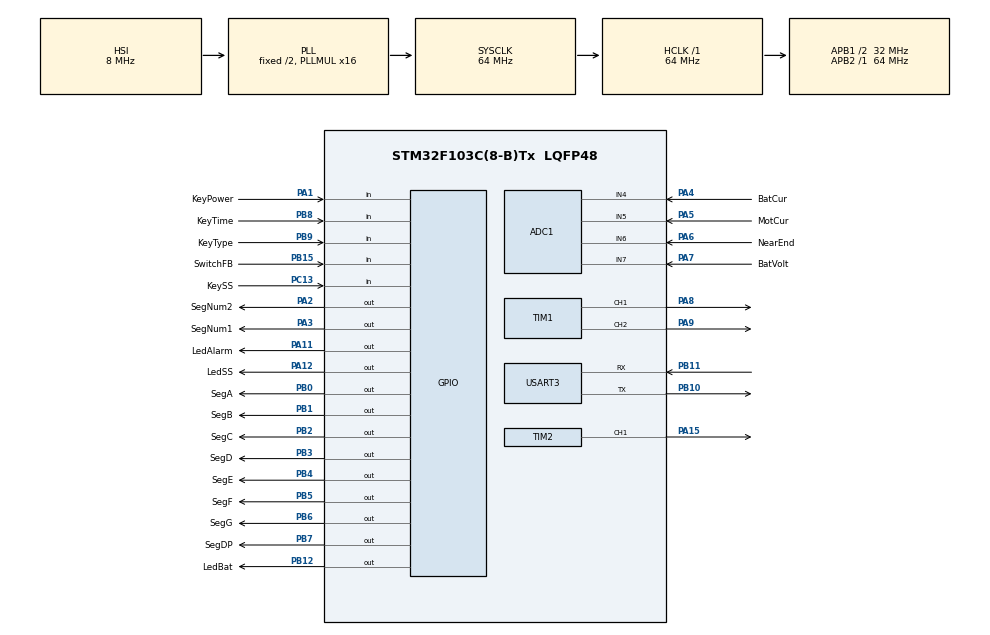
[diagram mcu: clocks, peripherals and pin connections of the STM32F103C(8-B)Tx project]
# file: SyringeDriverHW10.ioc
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ADC1.Channel-0\#ChannelRegularConversion=ADC_CHANNEL_4
ADC1.NbrOfConversionFlag=1
ADC1.Rank-0\#ChannelRegularConversion=1
ADC1.SamplingTime-0\#ChannelRegularConversion=ADC_SAMPLETIME_1CYCLE_5
ADC1.master=1
Mcu.Family=STM32F1
Mcu.Name=STM32F103C(8-B)Tx
Mcu.Package=LQFP48
NVIC.PriorityGroup=NVIC_PRIORITYGROUP_4
PA0-WKUP.Mode=SYS_WakeUp0
PA0-WKUP.Signal=SYS_WKUP
PA1.GPIO_Label=KeyPower
PA1.Signal=GPIO_Input
PA11.GPIO_Label=LedAlarm
PA11.Signal=GPIO_Output
PA12.GPIO_Label=LedSS
PA12.Signal=GPIO_Output
PA13.Mode=Serial_Wire
PA13.Signal=SYS_JTMS-SWDIO
PA14.Mode=Serial_Wire
PA14.Signal=SYS_JTCK-SWCLK
PA15.Signal=S_TIM2_CH1_ETR
PA2.GPIO_Label=SegNum2
PA2.PinState=GPIO_PIN_SET
PA2.Signal=GPIO_Output
PA3.GPIO_Label=SegNum1
PA3.PinState=GPIO_PIN_SET
PA3.Signal=GPIO_Output
PA4.GPIO_Label=BatCur
PA4.Signal=ADCx_IN4
PA5.GPIO_Label=MotCur
PA5.Signal=ADCx_IN5
PA6.GPIO_Label=NearEnd
PA6.Signal=ADCx_IN6
PA7.GPIO_Label=BatVolt
PA7.Signal=ADCx_IN7
PA8.Signal=S_TIM1_CH1
PA9.Signal=S_TIM1_CH2
PB0.GPIO_Label=SegA
PB0.PinState=GPIO_PIN_SET
PB0.Signal=GPIO_Output
PB1.GPIO_Label=SegB
PB1.PinState=GPIO_PIN_SET
PB1.Signal=GPIO_Output
PB10.Mode=Asynchronous
PB10.Signal=USART3_TX
PB11.Mode=Asynchronous
PB11.Signal=USART3_RX
PB12.GPIO_Label=LedBat
PB12.Signal=GPIO_Output
PB15.GPIO_Label=SwitchFB
PB15.Signal=GPIO_Input
PB2.GPIO_Label=SegC
PB2.PinState=GPIO_PIN_SET
PB2.Signal=GPIO_Output
PB3.GPIO_Label=SegD
PB3.PinState=GPIO_PIN_SET
PB3.Signal=GPIO_Output
PB4.GPIO_Label=SegE
PB4.PinState=GPIO_PIN_SET
PB4.Signal=GPIO_Output
PB5.GPIO_Label=SegF
PB5.PinState=GPIO_PIN_SET
PB5.Signal=GPIO_Output
PB6.GPIO_Label=SegG
PB6.PinState=GPIO_PIN_SET
PB6.Signal=GPIO_Output
PB7.GPIO_Label=SegDP
PB7.PinState=GPIO_PIN_SET
PB7.Signal=GPIO_Output
PB8.GPIO_Label=KeyTime
PB8.Signal=GPIO_Input
PB9.GPIO_Label=KeyType
PB9.Signal=GPIO_Input
PC13-TAMPER-RTC.GPIO_Label=KeySS
PC13-TAMPER-RTC.Signal=GPIO_Input
PC14-OSC32_IN.Mode=LSE-External-Oscillator
PC14-OSC32_IN.Signal=RCC_OSC32_IN
PC15-OSC32_OUT.Mode=LSE-External-Oscillator
PC15-OSC32_OUT.Signal=RCC_OSC32_OUT
ProjectManager.HeapSize=0x200
ProjectManager.StackSize=0x400
ProjectManager.TargetToolchain=STM32CubeIDE
RCC.ADCPresc=RCC_ADCPCLK2_DIV6
RCC.AHBFreq_Value=64000000
RCC.APB1CLKDivider=RCC_HCLK_DIV2
RCC.APB1Freq_Value=32000000
RCC.APB1TimFreq_Value=64000000
RCC.APB2Freq_Value=64000000
RCC.APB2TimFreq_Value=64000000
RCC.HCLKFreq_Value=64000000
RCC.PLLMUL=RCC_PLL_MUL16
RCC.SYSCLKFreq_VALUE=64000000
RCC.SYSCLKSource=RCC_SYSCLKSOURCE_PLLCLK
RCC.USBFreq_Value=64000000
SH.ADCx_IN4.0=ADC1_IN4,IN4
SH.ADCx_IN5.0=ADC1_IN5,IN5
SH.ADCx_IN6.0=ADC1_IN6,IN6
SH.ADCx_IN7.0=ADC1_IN7,IN7
SH.S_TIM1_CH1.0=TIM1_CH1,PWM Generation1 CH1
SH.S_TIM1_CH2.0=TIM1_CH2,PWM Generation2 CH2
SH.S_TIM2_CH1_ETR.0=TIM2_CH1,PWM Generation1 CH1
TIM1.Channel-PWM\ Generation1\ CH1=TIM_CHANNEL_1
TIM1.Channel-PWM\ Generation2\ CH2=TIM_CHANNEL_2
TIM2.AutoReloadPreload=TIM_AUTORELOAD_PRELOAD_ENABLE
TIM2.Channel-PWM\ Generation1\ CH1=TIM_CHANNEL_1
TIM2.Period=100-1
TIM2.Prescaler=640-1
TIM2.Pulse-PWM\ Generation1\ CH1=50-1
USART3.VirtualMode=VM_ASYNC
board=custom

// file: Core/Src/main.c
/* USER CODE BEGIN Header */
/**
  ******************************************************************************
  * @file           : main.c
  * @brief          : Main program body
  ******************************************************************************
  * @attention
  *
  * Copyright (c) 2023 STMicroelectronics.
  * All rights reserved.
  *
  * This software is licensed under terms that can be found in the LICENSE file
  * in the root directory of this software component.
  * If no LICENSE file comes with this software, it is provided AS-IS.
  *
  ******************************************************************************
  */
/* USER CODE END Header */
#include "main.h"
#include "adc.h"
#include "tim.h"
#include "usart.h"
#include "gpio.h"

void SystemClock_Config(void);

/* USER CODE BEGIN 0 */
/*                       Hap  py  Birth Day  to  you,  Hap py   birth day  to
                         C4   C4   D4   C4   F4   E4   C4   C4   D4   C4   G4 */
unsigned int notes[] = { 262, 262, 294, 262, 349, 330, 262, 262, 294, 262, 392,

/*                       you, Hap py  Birth Day  dear  xxxx      Hap  py   birth
                         F4   C4   C4   C5   A4   F4   E4   D4   B4b  B4b  A4 */
                         349, 262, 262, 523, 440, 349, 330, 294, 466, 466, 440,

/*                       day  to  you
                         F4   G4   F4   */
                         349, 392, 349
                        };

unsigned int duration[] = {1,1,2,2,2,2,1,1,2,2,2,2,1,1,2,2,2,2,2,1,1,2,2,2,2};

void setfrequency(int freq)
{
	uint32_t  freqpclk2=HAL_RCC_GetPCLK1Freq()*2/640;
	uint32_t _arr=freqpclk2/freq-1;
	uint32_t _ccr=_arr/3;
	__HAL_TIM_SET_AUTORELOAD(&htim2,_arr);
	__HAL_TIM_SET_COMPARE(&htim2,TIM_CHANNEL_1,_ccr);

}
void playSong(){

    for (uint8_t i = 0; i <sizeof(duration)/sizeof(unsigned int)*2; i++) {
		__HAL_TIM_SET_COUNTER(&htim2,0);
		setfrequency(notes[i%25]);
		HAL_Delay(400*duration[i%25]);

    }
//	__HAL_TIM_SET_AUTORELOAD(&htim2,0);
//    __HAL_TIM_SET_COMPARE(&htim2,TIM_CHANNEL_1,0);
}

/* USER CODE END 0 */

int main(void)
{

  /* MCU Configuration--------------------------------------------------------*/

  /* Reset of all peripherals, Initializes the Flash interface and the Systick. */
  HAL_Init();

  /* Configure the system clock */
  SystemClock_Config();

  /* Initialize all configured peripherals */
  MX_GPIO_Init();
  MX_ADC1_Init();
  MX_TIM1_Init();
  MX_TIM2_Init();
  MX_USART3_UART_Init();
  /* USER CODE BEGIN 2 */
HAL_GPIO_WritePin(SegNum1_GPIO_Port, SegNum1_Pin, GPIO_PIN_RESET);
HAL_GPIO_WritePin(LedAlarm_GPIO_Port, LedAlarm_Pin, GPIO_PIN_SET);
HAL_GPIO_WritePin(LedBat_GPIO_Port, LedBat_Pin, GPIO_PIN_SET);
HAL_GPIO_WritePin(LedSS_GPIO_Port, LedSS_Pin, GPIO_PIN_SET);

HAL_GPIO_WritePin(SegA_GPIO_Port, SegA_Pin, GPIO_PIN_RESET);
HAL_TIM_PWM_Start(&htim2, TIM_CHANNEL_1);
//setfrequency(200);
//HAL_Delay(3000);
//HAL_GPIO_WritePin(SegA_GPIO_Port, SegA_Pin, GPIO_PIN_SET);
//HAL_GPIO_WritePin(SegB_GPIO_Port, SegB_Pin, GPIO_PIN_RESET);
////__HAL_TIM_SET_AUTORELOAD(&htim2,200-1);
//setfrequency(1000);
//HAL_Delay(3000);
//HAL_GPIO_WritePin(SegB_GPIO_Port, SegB_Pin, GPIO_PIN_SET);
//HAL_GPIO_WritePin(SegC_GPIO_Port, SegC_Pin, GPIO_PIN_RESET);
//setfrequency(8000);
//HAL_Delay(3000);
playSong();
HAL_TIM_PWM_Stop(&htim2, TIM_CHANNEL_1);
  /* USER CODE END 2 */

  /* Infinite loop */
  while (1)
  {

  }
}

void SystemClock_Config(void)
{
  RCC_OscInitTypeDef RCC_OscInitStruct = {0};
  RCC_ClkInitTypeDef RCC_ClkInitStruct = {0};
  RCC_PeriphCLKInitTypeDef PeriphClkInit = {0};

  /** Initializes the RCC Oscillators according to the specified parameters
  * in the RCC_OscInitTypeDef structure.
  */
  RCC_OscInitStruct.OscillatorType = RCC_OSCILLATORTYPE_HSI;
  RCC_OscInitStruct.HSIState = RCC_HSI_ON;
  RCC_OscInitStruct.HSICalibrationValue = RCC_HSICALIBRATION_DEFAULT;
  RCC_OscInitStruct.PLL.PLLState = RCC_PLL_ON;
  RCC_OscInitStruct.PLL.PLLSource = RCC_PLLSOURCE_HSI_DIV2;
  RCC_OscInitStruct.PLL.PLLMUL = RCC_PLL_MUL16;
  if (HAL_RCC_OscConfig(&RCC_OscInitStruct) != HAL_OK)
  {
    Error_Handler();
  }
  /** Initializes the CPU, AHB and APB buses clocks
  */
  RCC_ClkInitStruct.ClockType = RCC_CLOCKTYPE_HCLK|RCC_CLOCKTYPE_SYSCLK
                              |RCC_CLOCKTYPE_PCLK1|RCC_CLOCKTYPE_PCLK2;
  RCC_ClkInitStruct.SYSCLKSource = RCC_SYSCLKSOURCE_PLLCLK;
  RCC_ClkInitStruct.AHBCLKDivider = RCC_SYSCLK_DIV1;
  RCC_ClkInitStruct.APB1CLKDivider = RCC_HCLK_DIV2;
  RCC_ClkInitStruct.APB2CLKDivider = RCC_HCLK_DIV1;

  if (HAL_RCC_ClockConfig(&RCC_ClkInitStruct, FLASH_LATENCY_2) != HAL_OK)
  {
    Error_Handler();
  }
  PeriphClkInit.PeriphClockSelection = RCC_PERIPHCLK_ADC;
  PeriphClkInit.AdcClockSelection = RCC_ADCPCLK2_DIV6;
  if (HAL_RCCEx_PeriphCLKConfig(&PeriphClkInit) != HAL_OK)
  {
    Error_Handler();
  }
}

void Error_Handler(void)
{
  __disable_irq();
  while (1)
  {
  }
}
